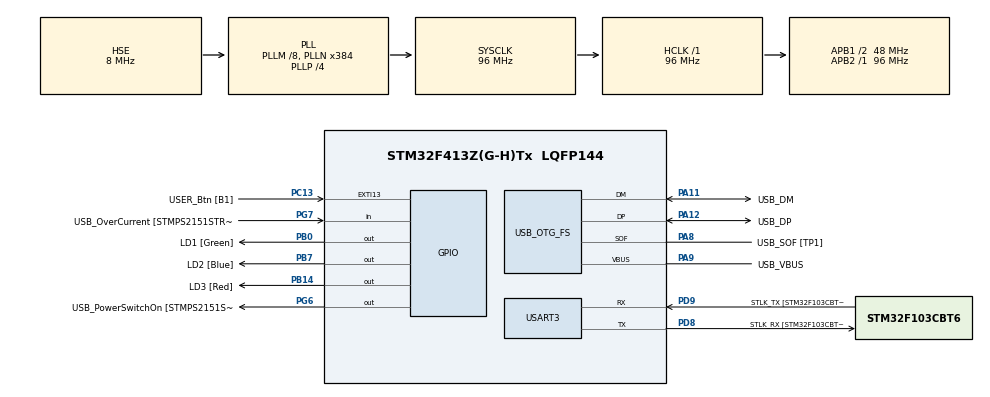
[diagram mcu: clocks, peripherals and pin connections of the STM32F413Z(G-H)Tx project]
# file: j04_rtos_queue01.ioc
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FREERTOS.Queues01=NumberQueue,16,uint16_t,0,Dynamic,NULL,NULL
FREERTOS.Tasks01=defaultTask,24,128,StartDefaultTask,Default,NULL,Dynamic,NULL,NULL;TaskA,8,128,StartTaskA,Default,NULL,Dynamic,NULL,NULL;TaskB,8,128,StartTaskB,Default,NULL,Dynamic,NULL,NULL
Mcu.Family=STM32F4
Mcu.Name=STM32F413Z(G-H)Tx
Mcu.Package=LQFP144
NVIC.PriorityGroup=NVIC_PRIORITYGROUP_4
PA10.GPIO_Label=USB_ID
PA10.Signal=USB_OTG_FS_ID
PA11.GPIO_Label=USB_DM
PA11.Mode=Device_Only
PA11.Signal=USB_OTG_FS_DM
PA12.GPIO_Label=USB_DP
PA12.Mode=Device_Only
PA12.Signal=USB_OTG_FS_DP
PA13.GPIO_Label=TMS
PA13.Mode=Serial_Wire
PA13.Signal=SYS_JTMS-SWDIO
PA14.GPIO_Label=TCK
PA14.Mode=Serial_Wire
PA14.Signal=SYS_JTCK-SWCLK
PA8.GPIO_Label=USB_SOF [TP1]
PA8.Mode=Activate_SOF_FS
PA8.Signal=USB_OTG_FS_SOF
PA9.GPIO_Label=USB_VBUS
PA9.Mode=Activate_VBUS
PA9.Signal=USB_OTG_FS_VBUS
PB0.GPIO_Label=LD1 [Green]
PB0.Signal=GPIO_Output
PB14.GPIO_Label=LD3 [Red]
PB14.Signal=GPIO_Output
PB3.GPIO_Label=SWO
PB3.Signal=SYS_JTDO-SWO
PB7.GPIO_Label=LD2 [Blue]
PB7.Signal=GPIO_Output
PC13.GPIO_Label=USER_Btn [B1]
PC13.Signal=GPXTI13
PC14-OSC32_IN.Mode=LSE-External-Oscillator
PC14-OSC32_IN.Signal=RCC_OSC32_IN
PC15-OSC32_OUT.Mode=LSE-External-Oscillator
PC15-OSC32_OUT.Signal=RCC_OSC32_OUT
PD8.GPIO_Label=STLK_RX [STM32F103CBT6_PA3]
PD8.Mode=Asynchronous
PD8.Signal=USART3_TX
PD9.GPIO_Label=STLK_TX [STM32F103CBT6_PA2]
PD9.Mode=Asynchronous
PD9.Signal=USART3_RX
PG6.GPIO_Label=USB_PowerSwitchOn [STMPS2151STR_EN]
PG6.Signal=GPIO_Output
PG7.GPIO_Label=USB_OverCurrent [STMPS2151STR_FAULT]
PG7.Signal=GPIO_Input
PH0\ -\ OSC_IN.GPIO_Label=MCO
PH0\ -\ OSC_IN.Mode=HSE-External-Clock-Source
PH0\ -\ OSC_IN.Signal=RCC_OSC_IN
PH1\ -\ OSC_OUT.Mode=HSE-External-Clock-Source
PH1\ -\ OSC_OUT.Signal=RCC_OSC_OUT
ProjectManager.HeapSize=0x200
ProjectManager.StackSize=0x400
ProjectManager.TargetToolchain=STM32CubeIDE
RCC.48MHZClocksFreq_Value=24000000
RCC.AHBFreq_Value=96000000
RCC.APB1CLKDivider=RCC_HCLK_DIV2
RCC.APB1Freq_Value=48000000
RCC.APB1TimFreq_Value=96000000
RCC.APB2Freq_Value=96000000
RCC.APB2TimFreq_Value=96000000
RCC.CortexFreq_Value=96000000
RCC.HCLKFreq_Value=96000000
RCC.HSE_VALUE=8000000
RCC.HSI_VALUE=16000000
RCC.PLLM=8
RCC.PLLMUL=RCC_PLL_MUL9
RCC.PLLN=384
RCC.PLLP=RCC_PLLP_DIV4
RCC.PLLQ=8
RCC.PRESCALERUSB=RCC_USBCLKSOURCE_PLL_DIV1_5
RCC.SYSCLKFreq_VALUE=96000000
RCC.SYSCLKSource=RCC_SYSCLKSOURCE_PLLCLK
RCC.SYSCLKSourceVirtual=RCC_SYSCLKSOURCE_PLLCLK
RCC.USBFreq_Value=48000000
RCC.VCOOutputFreq_Value=384000000
USART3.VirtualMode=VM_ASYNC
USB_OTG_FS.VirtualMode=Device_Only
VP_FREERTOS_VS_CMSIS_V2.Mode=CMSIS_V2
board=NUCLEO-F413ZH

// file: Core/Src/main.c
/* USER CODE BEGIN Header */
/**
  ******************************************************************************
  * @file           : main.c
  * @brief          : Main program body
  ******************************************************************************
  * @attention
  *
  * Copyright (c) 2025 STMicroelectronics.
  * All rights reserved.
  *
  * This software is licensed under terms that can be found in the LICENSE file
  * in the root directory of this software component.
  * If no LICENSE file comes with this software, it is provided AS-IS.
  *
  ******************************************************************************
  */
/* USER CODE END Header */
#include "main.h"
#include "cmsis_os.h"

UART_HandleTypeDef huart3;

PCD_HandleTypeDef hpcd_USB_OTG_FS;

/* Definitions for defaultTask */
osThreadId_t defaultTaskHandle;
const osThreadAttr_t defaultTask_attributes = {
  .name = "defaultTask",
  .stack_size = 128 * 4,
  .priority = (osPriority_t) osPriorityNormal,
};
/* Definitions for TaskA */
osThreadId_t TaskAHandle;
const osThreadAttr_t TaskA_attributes = {
  .name = "TaskA",
  .stack_size = 128 * 4,
  .priority = (osPriority_t) osPriorityLow,
};
/* Definitions for TaskB */
osThreadId_t TaskBHandle;
const osThreadAttr_t TaskB_attributes = {
  .name = "TaskB",
  .stack_size = 128 * 4,
  .priority = (osPriority_t) osPriorityLow,
};
/* Definitions for NumberQueue */
// 定義Queue隊列句柄和屬性
osMessageQueueId_t NumberQueueHandle;
const osMessageQueueAttr_t NumberQueue_attributes = {
  .name = "NumberQueue"
};
/* USER CODE BEGIN PV */
uint16_t gStartNumber = 100;  // 起始數字，任務B會從此數字開始送出
/* USER CODE END PV */

void SystemClock_Config(void);
static void MX_GPIO_Init(void);
static void MX_USART3_UART_Init(void);
static void MX_USB_OTG_FS_PCD_Init(void);
void StartDefaultTask(void *argument);     // FreeRTOS 內定義的任務函式
void StartTaskA(void *argument);           // FreeRTOS 任務A函式
void StartTaskB(void *argument);           // FreeRTOS 任務B函式

/* USER CODE BEGIN 0 */
// 重定向 printf 函式到 UART3
int _write(int file, char *ptr, int len)
{
  HAL_UART_Transmit(&huart3, (uint8_t *)ptr, len, HAL_MAX_DELAY);
  return len;
}
/* USER CODE END 0 */

int main(void)
{

  /* MCU Configuration--------------------------------------------------------*/

  /* Reset of all peripherals, Initializes the Flash interface and the Systick. */
  HAL_Init();

  /* Configure the system clock */
  SystemClock_Config();

  /* Initialize all configured peripherals */
  MX_GPIO_Init();
  MX_USART3_UART_Init();
  MX_USB_OTG_FS_PCD_Init();

  /* Init scheduler */
  osKernelInitialize();

  /* Create the queue(s) */
  /* creation of NumberQueue */
  // 建立一個可容納16個uint16_t元素的消息隊列
  NumberQueueHandle = osMessageQueueNew (16,   // 建立Queue可容納16個元素
    sizeof(uint16_t),                          // 資料的大小為uint16_t
    &NumberQueue_attributes);                  // Queue的屬性

  /* Create the thread(s) */
  /* creation of defaultTask */
  // 建立預設任務 RTOS 內定義的任務函式
  defaultTaskHandle = osThreadNew(StartDefaultTask, NULL, &defaultTask_attributes);

  /* creation of TaskA */
  // 建立任務A
  TaskAHandle = osThreadNew(StartTaskA, NULL, &TaskA_attributes);

  /* creation of TaskB */
  // 建立任務B
  TaskBHandle = osThreadNew(StartTaskB, NULL, &TaskB_attributes);

  /* Start scheduler */
  osKernelStart();

  /* We should never get here as control is now taken by the scheduler */

  /* Infinite loop */
  while (1)
  {

  }
}

void SystemClock_Config(void)
{
  RCC_OscInitTypeDef RCC_OscInitStruct = {0};
  RCC_ClkInitTypeDef RCC_ClkInitStruct = {0};

  /** Configure the main internal regulator output voltage
  */
  __HAL_RCC_PWR_CLK_ENABLE();
  __HAL_PWR_VOLTAGESCALING_CONFIG(PWR_REGULATOR_VOLTAGE_SCALE1);

  /** Initializes the RCC Oscillators according to the specified parameters
  * in the RCC_OscInitTypeDef structure.
  */
  RCC_OscInitStruct.OscillatorType = RCC_OSCILLATORTYPE_HSE;
  RCC_OscInitStruct.HSEState = RCC_HSE_BYPASS;
  RCC_OscInitStruct.PLL.PLLState = RCC_PLL_ON;
  RCC_OscInitStruct.PLL.PLLSource = RCC_PLLSOURCE_HSE;
  RCC_OscInitStruct.PLL.PLLM = 8;
  RCC_OscInitStruct.PLL.PLLN = 384;
  RCC_OscInitStruct.PLL.PLLP = RCC_PLLP_DIV4;
  RCC_OscInitStruct.PLL.PLLQ = 8;
  RCC_OscInitStruct.PLL.PLLR = 2;
  if (HAL_RCC_OscConfig(&RCC_OscInitStruct) != HAL_OK)
  {
    Error_Handler();
  }

  /** Initializes the CPU, AHB and APB buses clocks
  */
  RCC_ClkInitStruct.ClockType = RCC_CLOCKTYPE_HCLK|RCC_CLOCKTYPE_SYSCLK
                              |RCC_CLOCKTYPE_PCLK1|RCC_CLOCKTYPE_PCLK2;
  RCC_ClkInitStruct.SYSCLKSource = RCC_SYSCLKSOURCE_PLLCLK;
  RCC_ClkInitStruct.AHBCLKDivider = RCC_SYSCLK_DIV1;
  RCC_ClkInitStruct.APB1CLKDivider = RCC_HCLK_DIV2;
  RCC_ClkInitStruct.APB2CLKDivider = RCC_HCLK_DIV1;

  if (HAL_RCC_ClockConfig(&RCC_ClkInitStruct, FLASH_LATENCY_3) != HAL_OK)
  {
    Error_Handler();
  }
}

static void MX_USART3_UART_Init(void)
{

  huart3.Instance = USART3;
  huart3.Init.BaudRate = 115200;
  huart3.Init.WordLength = UART_WORDLENGTH_8B;
  huart3.Init.StopBits = UART_STOPBITS_1;
  huart3.Init.Parity = UART_PARITY_NONE;
  huart3.Init.Mode = UART_MODE_TX_RX;
  huart3.Init.HwFlowCtl = UART_HWCONTROL_NONE;
  huart3.Init.OverSampling = UART_OVERSAMPLING_16;
  if (HAL_UART_Init(&huart3) != HAL_OK)
  {
    Error_Handler();
  }

}

static void MX_USB_OTG_FS_PCD_Init(void)
{

  hpcd_USB_OTG_FS.Instance = USB_OTG_FS;
  hpcd_USB_OTG_FS.Init.dev_endpoints = 6;
  hpcd_USB_OTG_FS.Init.speed = PCD_SPEED_FULL;
  hpcd_USB_OTG_FS.Init.dma_enable = DISABLE;
  hpcd_USB_OTG_FS.Init.phy_itface = PCD_PHY_EMBEDDED;
  hpcd_USB_OTG_FS.Init.Sof_enable = ENABLE;
  hpcd_USB_OTG_FS.Init.low_power_enable = DISABLE;
  hpcd_USB_OTG_FS.Init.lpm_enable = DISABLE;
  hpcd_USB_OTG_FS.Init.battery_charging_enable = ENABLE;
  hpcd_USB_OTG_FS.Init.vbus_sensing_enable = ENABLE;
  hpcd_USB_OTG_FS.Init.use_dedicated_ep1 = DISABLE;
  if (HAL_PCD_Init(&hpcd_USB_OTG_FS) != HAL_OK)
  {
    Error_Handler();
  }

}

static void MX_GPIO_Init(void)
{
  GPIO_InitTypeDef GPIO_InitStruct = {0};

  /* GPIO Ports Clock Enable */
  __HAL_RCC_GPIOC_CLK_ENABLE();
  __HAL_RCC_GPIOH_CLK_ENABLE();
  __HAL_RCC_GPIOB_CLK_ENABLE();
  __HAL_RCC_GPIOD_CLK_ENABLE();
  __HAL_RCC_GPIOG_CLK_ENABLE();
  __HAL_RCC_GPIOA_CLK_ENABLE();

  /*Configure GPIO pin Output Level */
  HAL_GPIO_WritePin(GPIOB, LD1_Pin|LD3_Pin|LD2_Pin, GPIO_PIN_RESET);

  /*Configure GPIO pin Output Level */
  HAL_GPIO_WritePin(USB_PowerSwitchOn_GPIO_Port, USB_PowerSwitchOn_Pin, GPIO_PIN_RESET);

  /*Configure GPIO pin : USER_Btn_Pin */
  GPIO_InitStruct.Pin = USER_Btn_Pin;
  GPIO_InitStruct.Mode = GPIO_MODE_IT_RISING;
  GPIO_InitStruct.Pull = GPIO_NOPULL;
  HAL_GPIO_Init(USER_Btn_GPIO_Port, &GPIO_InitStruct);

  /*Configure GPIO pins : LD1_Pin LD3_Pin LD2_Pin */
  GPIO_InitStruct.Pin = LD1_Pin|LD3_Pin|LD2_Pin;
  GPIO_InitStruct.Mode = GPIO_MODE_OUTPUT_PP;
  GPIO_InitStruct.Pull = GPIO_NOPULL;
  GPIO_InitStruct.Speed = GPIO_SPEED_FREQ_LOW;
  HAL_GPIO_Init(GPIOB, &GPIO_InitStruct);

  /*Configure GPIO pin : USB_PowerSwitchOn_Pin */
  GPIO_InitStruct.Pin = USB_PowerSwitchOn_Pin;
  GPIO_InitStruct.Mode = GPIO_MODE_OUTPUT_PP;
  GPIO_InitStruct.Pull = GPIO_NOPULL;
  GPIO_InitStruct.Speed = GPIO_SPEED_FREQ_LOW;
  HAL_GPIO_Init(USB_PowerSwitchOn_GPIO_Port, &GPIO_InitStruct);

  /*Configure GPIO pin : USB_OverCurrent_Pin */
  GPIO_InitStruct.Pin = USB_OverCurrent_Pin;
  GPIO_InitStruct.Mode = GPIO_MODE_INPUT;
  GPIO_InitStruct.Pull = GPIO_NOPULL;
  HAL_GPIO_Init(USB_OverCurrent_GPIO_Port, &GPIO_InitStruct);

}

void StartDefaultTask(void *argument)
{
  for(;;)
  {
    osDelay(1);
  }
}

void StartTaskA(void *argument)
{
  /* USER CODE BEGIN StartTaskA */
  uint16_t recvNumber;
  /* Infinite loop */
  for(;;)
  {
    // 從佇列中接收數字，timeout 設為 osWaitForever 表示阻塞等待
    if (osMessageQueueGet(NumberQueueHandle,   //  Queue隊列句柄
                        &recvNumber,           //  接收數字的指標
                        NULL,                  //  不使用優先權
                        osWaitForever) == osOK)  // 永遠等待直到收到數字
    {
      // 這裡以 printf 輸出
      printf("TaskA received number: %lu\r\n", (unsigned long)recvNumber);
    }
    osDelay(1);
  }
  /* USER CODE END StartTaskA */
}

void StartTaskB(void *argument)
{
  /* USER CODE BEGIN StartTaskB */
  uint16_t currentNumber = gStartNumber;  // 使用全域起始數字

  /* Infinite loop */
  for(;;)
  {
        // 將目前數字放到佇列，timeout 設為 0 代表若滿就立刻返回
    if (osMessageQueuePut(NumberQueueHandle,    // 放入的 Queue 隊列句柄
                         &currentNumber,        // 放入的數字指標
                         0,                     // 不使用優先權
                         0) == osOK)  // timeout 設為0，若滿就立刻返回
    {
      // 成功送出後再遞增
      currentNumber++;
    }
    // 延遲 1000ms，避免刷太快
    osDelay(1000);

  }
  /* USER CODE END StartTaskB */
}

void Error_Handler(void)
{
  __disable_irq();
  while (1)
  {
  }
}
